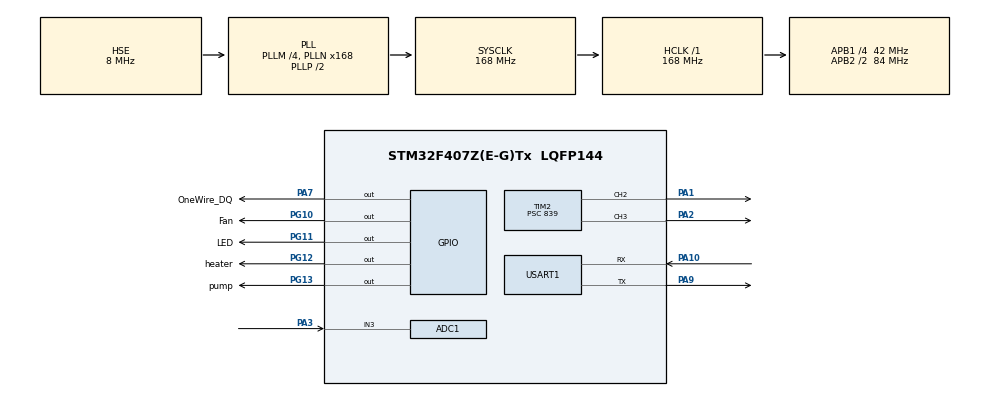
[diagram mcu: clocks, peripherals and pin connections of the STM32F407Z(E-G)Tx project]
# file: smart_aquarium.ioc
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ADC1.Channel-0\#ChannelRegularConversion=ADC_CHANNEL_3
ADC1.ContinuousConvMode=DISABLE
ADC1.NbrOfConversionFlag=1
ADC1.Rank-0\#ChannelRegularConversion=1
ADC1.SamplingTime-0\#ChannelRegularConversion=ADC_SAMPLETIME_3CYCLES
ADC1.ScanConvMode=ENABLE
ADC1.master=1
Mcu.Family=STM32F4
Mcu.Name=STM32F407Z(E-G)Tx
Mcu.Package=LQFP144
NVIC.PriorityGroup=NVIC_PRIORITYGROUP_4
NVIC.TIM3_IRQn=true\:0\:0\:false\:false\:true\:true\:true\:true
NVIC.USART1_IRQn=true\:0\:0\:false\:false\:true\:true\:true\:true
PA1.Signal=S_TIM2_CH2
PA10.Mode=Asynchronous
PA10.Signal=USART1_RX
PA2.Signal=S_TIM2_CH3
PA3.Signal=ADCx_IN3
PA7.GPIO_Label=OneWire_DQ
PA7.GPIO_ModeDefaultOutputPP=GPIO_MODE_OUTPUT_OD
PA7.GPIO_PuPd=GPIO_NOPULL
PA7.PinState=GPIO_PIN_SET
PA7.Signal=GPIO_Output
PA9.Mode=Asynchronous
PA9.Signal=USART1_TX
PG10.GPIO_Label=Fan
PG10.Signal=GPIO_Output
PG11.GPIO_Label=LED
PG11.Signal=GPIO_Output
PG12.GPIO_Label=heater
PG12.PinState=GPIO_PIN_SET
PG12.Signal=GPIO_Output
PG13.GPIO_Label=pump
PG13.PinState=GPIO_PIN_SET
PG13.Signal=GPIO_Output
PH0-OSC_IN.Mode=HSE-External-Oscillator
PH0-OSC_IN.Signal=RCC_OSC_IN
PH1-OSC_OUT.Mode=HSE-External-Oscillator
PH1-OSC_OUT.Signal=RCC_OSC_OUT
ProjectManager.HeapSize=0x200
ProjectManager.StackSize=0x400
ProjectManager.TargetToolchain=STM32CubeIDE
RCC.48MHZClocksFreq_Value=84000000
RCC.AHBFreq_Value=168000000
RCC.APB1CLKDivider=RCC_HCLK_DIV4
RCC.APB1Freq_Value=42000000
RCC.APB1TimFreq_Value=84000000
RCC.APB2CLKDivider=RCC_HCLK_DIV2
RCC.APB2Freq_Value=84000000
RCC.APB2TimFreq_Value=168000000
RCC.CortexFreq_Value=168000000
RCC.HCLKFreq_Value=168000000
RCC.HSE_VALUE=8000000
RCC.HSI_VALUE=16000000
RCC.LSE_VALUE=32768
RCC.PLLM=4
RCC.PLLN=168
RCC.PLLSourceVirtual=RCC_PLLSOURCE_HSE
RCC.SYSCLKFreq_VALUE=168000000
RCC.SYSCLKSource=RCC_SYSCLKSOURCE_PLLCLK
RCC.VCOOutputFreq_Value=336000000
SH.ADCx_IN3.0=ADC1_IN3,IN3
SH.S_TIM2_CH2.0=TIM2_CH2,PWM Generation2 CH2
SH.S_TIM2_CH3.0=TIM2_CH3,PWM Generation3 CH3
TIM2.AutoReloadPreload=TIM_AUTORELOAD_PRELOAD_ENABLE
TIM2.Channel-PWM\ Generation2\ CH2=TIM_CHANNEL_2
TIM2.Channel-PWM\ Generation3\ CH3=TIM_CHANNEL_3
TIM2.ClockDivision=TIM_CLOCKDIVISION_DIV1
TIM2.Period=1999
TIM2.Prescaler=839
TIM2.Pulse-PWM\ Generation2\ CH2=500
TIM2.Pulse-PWM\ Generation3\ CH3=1000
TIM3.Period=999
TIM3.Prescaler=83
TIM6.AutoReloadPreload=TIM_AUTORELOAD_PRELOAD_ENABLE
TIM6.Prescaler=83
USART1.VirtualMode=VM_ASYNC
VP_TIM2_VS_ClockSourceINT.Mode=Internal
VP_TIM3_VS_ClockSourceINT.Mode=Internal
VP_TIM6_VS_ClockSourceINT.Mode=Enable_Timer
board=custom

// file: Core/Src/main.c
/* USER CODE BEGIN Header */
/**
  ******************************************************************************
  * @file           : main.c
  * @brief          : Main program body
  ******************************************************************************
  * @attention
  *
  * Copyright (c) 2026 STMicroelectronics.
  * All rights reserved.
  *
  * This software is licensed under terms that can be found in the LICENSE file
  * in the root directory of this software component.
  * If no LICENSE file comes with this software, it is provided AS-IS.
  *
  ******************************************************************************
  */
/* USER CODE END Header */
#include "main.h"

/* USER CODE BEGIN Includes */
#include <stdio.h>
#include <String.h>
#include "Delay_us.h"
#include "OneWire.h"
#include "DS18B20.h"
#include "UART_Connect.h"
#include "Devices_Control.h"
/* USER CODE END Includes */

/* USER CODE BEGIN PM */
void Get_ADC1_Data(void);
void decide_UART_1(void);
/* USER CODE END PM */

ADC_HandleTypeDef hadc1;

TIM_HandleTypeDef htim2;
TIM_HandleTypeDef htim3;
TIM_HandleTypeDef htim6;

UART_HandleTypeDef huart1;

/* USER CODE BEGIN PV */

uint16_t data_TIM2_CH2_PWM_OC=0;
uint16_t data_TIM2_CH3_PWM_OC=0;
volatile uint16_t data_TIM3_IT=0;
volatile uint16_t data_TIM3_Second_IT=0;
volatile uint8_t Temperature_Get_Data1_Flag=1;
volatile uint8_t ADC1_Get_Data1_Flag=1;

uint32_t ADC1_data_1 = 0;
float Temperature_data_1 = 12.3;

char* Pump_status="Pump_OFF";
char* Heater_status="Heater_OFF";
char* Light_status="Light_OFF";
char* Feed_status="Feed_OFF";

volatile uint8_t Feed_Flag=0;
volatile uint8_t UART_Send_Light_Flag=0;

/* USER CODE END PV */

void SystemClock_Config(void);
static void MX_GPIO_Init(void);
static void MX_TIM2_Init(void);
static void MX_TIM3_Init(void);
static void MX_ADC1_Init(void);
static void MX_TIM6_Init(void);
static void MX_USART1_UART_Init(void);

int main(void)
{

  /* MCU Configuration--------------------------------------------------------*/

  /* Reset of all peripherals, Initializes the Flash interface and the Systick. */
  HAL_Init();

  /* Configure the system clock */
  SystemClock_Config();

  /* Initialize all configured peripherals */
  MX_GPIO_Init();
  MX_TIM2_Init();
  MX_TIM3_Init();
  MX_ADC1_Init();
  MX_TIM6_Init();
  MX_USART1_UART_Init();
  /* USER CODE BEGIN 2 */
  HAL_TIM_Base_Start_IT(&htim3);

  HAL_TIM_Base_Start(&htim2);
  HAL_TIM_PWM_Start(&htim2,TIM_CHANNEL_2);
  HAL_TIM_PWM_Start(&htim2,TIM_CHANNEL_3);
  HAL_TIM_Base_Start(&htim6);

  HAL_ADC_Start(&hadc1);

  DS18B20_ConvertT();
  Devices_Init();
  UART_StartReceive();

  /* USER CODE END 2 */

  /* Infinite loop */
  /* USER CODE BEGIN WHILE */

  while (1)
  {
	  //PWM_SetDuty(50);
	 // HAL_Delay(1000);
	  //PWM_SetDuty(250);
	  //HAL_Delay(1000);

    /* USER CODE END WHILE */

    /* USER CODE BEGIN 3 */

	 if(ADC1_Get_Data1_Flag==1)
	 {
		 ADC1_Get_Data1_Flag=0;
		 Get_ADC1_Data();
	 }
	 if(Temperature_Get_Data1_Flag==1)
	 {
		 Temperature_Get_Data1_Flag=0;
		 Temperature_data_1=DS18B20_Read_T();
	 }

	 //接收指令，根据指令行动
	 if(UART_RX_Flag == 1)
	 {
		 decide_UART_1();
	 }

	 if(Feed_Flag==2)
	 {
		 Feed_Flag=0;
		 Feed_OFF();
	 }
	 if(UART_Send_Light_Flag==1)
	 {
		 UART_Send_Light_Flag=0;
		 UART_Send_Light_data(ADC1_data_1);
	 }

  }
  /* USER CODE END 3 */
}

void SystemClock_Config(void)
{
  RCC_OscInitTypeDef RCC_OscInitStruct = {0};
  RCC_ClkInitTypeDef RCC_ClkInitStruct = {0};

  /** Configure the main internal regulator output voltage
  */
  __HAL_RCC_PWR_CLK_ENABLE();
  __HAL_PWR_VOLTAGESCALING_CONFIG(PWR_REGULATOR_VOLTAGE_SCALE1);

  /** Initializes the RCC Oscillators according to the specified parameters
  * in the RCC_OscInitTypeDef structure.
  */
  RCC_OscInitStruct.OscillatorType = RCC_OSCILLATORTYPE_HSE;
  RCC_OscInitStruct.HSEState = RCC_HSE_ON;
  RCC_OscInitStruct.PLL.PLLState = RCC_PLL_ON;
  RCC_OscInitStruct.PLL.PLLSource = RCC_PLLSOURCE_HSE;
  RCC_OscInitStruct.PLL.PLLM = 4;
  RCC_OscInitStruct.PLL.PLLN = 168;
  RCC_OscInitStruct.PLL.PLLP = RCC_PLLP_DIV2;
  RCC_OscInitStruct.PLL.PLLQ = 4;
  if (HAL_RCC_OscConfig(&RCC_OscInitStruct) != HAL_OK)
  {
    Error_Handler();
  }

  /** Initializes the CPU, AHB and APB buses clocks
  */
  RCC_ClkInitStruct.ClockType = RCC_CLOCKTYPE_HCLK|RCC_CLOCKTYPE_SYSCLK
                              |RCC_CLOCKTYPE_PCLK1|RCC_CLOCKTYPE_PCLK2;
  RCC_ClkInitStruct.SYSCLKSource = RCC_SYSCLKSOURCE_PLLCLK;
  RCC_ClkInitStruct.AHBCLKDivider = RCC_SYSCLK_DIV1;
  RCC_ClkInitStruct.APB1CLKDivider = RCC_HCLK_DIV4;
  RCC_ClkInitStruct.APB2CLKDivider = RCC_HCLK_DIV2;

  if (HAL_RCC_ClockConfig(&RCC_ClkInitStruct, FLASH_LATENCY_5) != HAL_OK)
  {
    Error_Handler();
  }
}

static void MX_ADC1_Init(void)
{

  ADC_ChannelConfTypeDef sConfig = {0};

  /** Configure the global features of the ADC (Clock, Resolution, Data Alignment and number of conversion)
  */
  hadc1.Instance = ADC1;
  hadc1.Init.ClockPrescaler = ADC_CLOCK_SYNC_PCLK_DIV4;
  hadc1.Init.Resolution = ADC_RESOLUTION_12B;
  hadc1.Init.ScanConvMode = ENABLE;
  hadc1.Init.ContinuousConvMode = DISABLE;
  hadc1.Init.DiscontinuousConvMode = DISABLE;
  hadc1.Init.ExternalTrigConvEdge = ADC_EXTERNALTRIGCONVEDGE_NONE;
  hadc1.Init.ExternalTrigConv = ADC_SOFTWARE_START;
  hadc1.Init.DataAlign = ADC_DATAALIGN_RIGHT;
  hadc1.Init.NbrOfConversion = 1;
  hadc1.Init.DMAContinuousRequests = DISABLE;
  hadc1.Init.EOCSelection = ADC_EOC_SINGLE_CONV;
  if (HAL_ADC_Init(&hadc1) != HAL_OK)
  {
    Error_Handler();
  }

  /** Configure for the selected ADC regular channel its corresponding rank in the sequencer and its sample time.
  */
  sConfig.Channel = ADC_CHANNEL_3;
  sConfig.Rank = 1;
  sConfig.SamplingTime = ADC_SAMPLETIME_3CYCLES;
  if (HAL_ADC_ConfigChannel(&hadc1, &sConfig) != HAL_OK)
  {
    Error_Handler();
  }

}

static void MX_TIM2_Init(void)
{

  TIM_ClockConfigTypeDef sClockSourceConfig = {0};
  TIM_MasterConfigTypeDef sMasterConfig = {0};
  TIM_OC_InitTypeDef sConfigOC = {0};

  htim2.Instance = TIM2;
  htim2.Init.Prescaler = 839;
  htim2.Init.CounterMode = TIM_COUNTERMODE_UP;
  htim2.Init.Period = 1999;
  htim2.Init.ClockDivision = TIM_CLOCKDIVISION_DIV1;
  htim2.Init.AutoReloadPreload = TIM_AUTORELOAD_PRELOAD_ENABLE;
  if (HAL_TIM_Base_Init(&htim2) != HAL_OK)
  {
    Error_Handler();
  }
  sClockSourceConfig.ClockSource = TIM_CLOCKSOURCE_INTERNAL;
  if (HAL_TIM_ConfigClockSource(&htim2, &sClockSourceConfig) != HAL_OK)
  {
    Error_Handler();
  }
  if (HAL_TIM_PWM_Init(&htim2) != HAL_OK)
  {
    Error_Handler();
  }
  sMasterConfig.MasterOutputTrigger = TIM_TRGO_RESET;
  sMasterConfig.MasterSlaveMode = TIM_MASTERSLAVEMODE_DISABLE;
  if (HAL_TIMEx_MasterConfigSynchronization(&htim2, &sMasterConfig) != HAL_OK)
  {
    Error_Handler();
  }
  sConfigOC.OCMode = TIM_OCMODE_PWM1;
  sConfigOC.Pulse = 500;
  sConfigOC.OCPolarity = TIM_OCPOLARITY_HIGH;
  sConfigOC.OCFastMode = TIM_OCFAST_DISABLE;
  if (HAL_TIM_PWM_ConfigChannel(&htim2, &sConfigOC, TIM_CHANNEL_2) != HAL_OK)
  {
    Error_Handler();
  }
  sConfigOC.Pulse = 1000;
  if (HAL_TIM_PWM_ConfigChannel(&htim2, &sConfigOC, TIM_CHANNEL_3) != HAL_OK)
  {
    Error_Handler();
  }
  HAL_TIM_MspPostInit(&htim2);

}

static void MX_TIM3_Init(void)
{

  TIM_ClockConfigTypeDef sClockSourceConfig = {0};
  TIM_MasterConfigTypeDef sMasterConfig = {0};

  htim3.Instance = TIM3;
  htim3.Init.Prescaler = 83;
  htim3.Init.CounterMode = TIM_COUNTERMODE_UP;
  htim3.Init.Period = 999;
  htim3.Init.ClockDivision = TIM_CLOCKDIVISION_DIV1;
  htim3.Init.AutoReloadPreload = TIM_AUTORELOAD_PRELOAD_DISABLE;
  if (HAL_TIM_Base_Init(&htim3) != HAL_OK)
  {
    Error_Handler();
  }
  sClockSourceConfig.ClockSource = TIM_CLOCKSOURCE_INTERNAL;
  if (HAL_TIM_ConfigClockSource(&htim3, &sClockSourceConfig) != HAL_OK)
  {
    Error_Handler();
  }
  sMasterConfig.MasterOutputTrigger = TIM_TRGO_RESET;
  sMasterConfig.MasterSlaveMode = TIM_MASTERSLAVEMODE_DISABLE;
  if (HAL_TIMEx_MasterConfigSynchronization(&htim3, &sMasterConfig) != HAL_OK)
  {
    Error_Handler();
  }

}

static void MX_TIM6_Init(void)
{

  TIM_MasterConfigTypeDef sMasterConfig = {0};

  htim6.Instance = TIM6;
  htim6.Init.Prescaler = 83;
  htim6.Init.CounterMode = TIM_COUNTERMODE_UP;
  htim6.Init.Period = 65535;
  htim6.Init.AutoReloadPreload = TIM_AUTORELOAD_PRELOAD_ENABLE;
  if (HAL_TIM_Base_Init(&htim6) != HAL_OK)
  {
    Error_Handler();
  }
  sMasterConfig.MasterOutputTrigger = TIM_TRGO_RESET;
  sMasterConfig.MasterSlaveMode = TIM_MASTERSLAVEMODE_DISABLE;
  if (HAL_TIMEx_MasterConfigSynchronization(&htim6, &sMasterConfig) != HAL_OK)
  {
    Error_Handler();
  }

}

static void MX_USART1_UART_Init(void)
{

  huart1.Instance = USART1;
  huart1.Init.BaudRate = 115200;
  huart1.Init.WordLength = UART_WORDLENGTH_8B;
  huart1.Init.StopBits = UART_STOPBITS_1;
  huart1.Init.Parity = UART_PARITY_NONE;
  huart1.Init.Mode = UART_MODE_TX_RX;
  huart1.Init.HwFlowCtl = UART_HWCONTROL_NONE;
  huart1.Init.OverSampling = UART_OVERSAMPLING_16;
  if (HAL_UART_Init(&huart1) != HAL_OK)
  {
    Error_Handler();
  }

}

static void MX_GPIO_Init(void)
{
  GPIO_InitTypeDef GPIO_InitStruct = {0};

  /* GPIO Ports Clock Enable */
  __HAL_RCC_GPIOH_CLK_ENABLE();
  __HAL_RCC_GPIOA_CLK_ENABLE();
  __HAL_RCC_GPIOG_CLK_ENABLE();

  /*Configure GPIO pin Output Level */
  HAL_GPIO_WritePin(OneWire_DQ_GPIO_Port, OneWire_DQ_Pin, GPIO_PIN_SET);

  /*Configure GPIO pin Output Level */
  HAL_GPIO_WritePin(GPIOG, Fan_Pin|LED_Pin, GPIO_PIN_RESET);

  /*Configure GPIO pin Output Level */
  HAL_GPIO_WritePin(GPIOG, heater_Pin|pump_Pin, GPIO_PIN_SET);

  /*Configure GPIO pin : OneWire_DQ_Pin */
  GPIO_InitStruct.Pin = OneWire_DQ_Pin;
  GPIO_InitStruct.Mode = GPIO_MODE_OUTPUT_OD;
  GPIO_InitStruct.Pull = GPIO_NOPULL;
  GPIO_InitStruct.Speed = GPIO_SPEED_FREQ_LOW;
  HAL_GPIO_Init(OneWire_DQ_GPIO_Port, &GPIO_InitStruct);

  /*Configure GPIO pins : Fan_Pin LED_Pin heater_Pin pump_Pin */
  GPIO_InitStruct.Pin = Fan_Pin|LED_Pin|heater_Pin|pump_Pin;
  GPIO_InitStruct.Mode = GPIO_MODE_OUTPUT_PP;
  GPIO_InitStruct.Pull = GPIO_NOPULL;
  GPIO_InitStruct.Speed = GPIO_SPEED_FREQ_LOW;
  HAL_GPIO_Init(GPIOG, &GPIO_InitStruct);

}

/* USER CODE BEGIN 4 */

//TIM3为程序主计时器，依据该时钟发送数据信息，采集数据
void HAL_TIM_PeriodElapsedCallback(TIM_HandleTypeDef *htim)
{
	if(htim->Instance == TIM3)
	 {
		data_TIM3_IT++;

		//毫秒计时器
		if(data_TIM3_IT==250)
		{
			//HAL_GPIO_TogglePin(GPIOG, LED_Pin);
			//UART_SendString("Pump:OFF#");
		}
		if(data_TIM3_IT==500)
		{
			Temperature_Get_Data1_Flag=1;
		}
		if(data_TIM3_IT==1000)
		{
			ADC1_Get_Data1_Flag=1;
			data_TIM3_Second_IT++;
			Feed_Flag++;
			data_TIM3_IT=0;
		}

		//秒计时器
		if(data_TIM3_Second_IT==5&&data_TIM3_IT==0)
		{
			UART_Send_Light_data(ADC1_data_1);
		}
		if(data_TIM3_Second_IT==10&&data_TIM3_IT==0)
		{
			UART_Send_Tep_data(Temperature_data_1);
			data_TIM3_Second_IT=0;
		}
	 }

}

void Get_ADC1_Data(void)
{
	HAL_ADC_Start(&hadc1);

	//ADC1_data_1 = HAL_ADC_GetValue(&hadc1);
	if (HAL_ADC_PollForConversion(&hadc1, 1000) == HAL_OK)
	{
		ADC1_data_1 = HAL_ADC_GetValue(&hadc1);
	}
	HAL_ADC_Stop(&hadc1);

}

void decide_UART_1(void)
{
	 UART_RX_Flag = 0;

	 if(strcmp((char *)UART_Data, "Light:ON") == 0)
	 {
		 UART_SendString("Light_ON#");
		 Light_ON();
	 }
	 if(strcmp((char *)UART_Data, "Light:OFF") == 0)
	 {
		 UART_SendString("Light_OFF#");
		 Light_OFF();
	 }
	 if(strcmp((char *)UART_Data, "Pump:ON") == 0)
	 {
		 UART_SendString("Pump_ON#");
		 Pump_ON();
	 }
	 if(strcmp((char *)UART_Data, "Pump:OFF") == 0)
	 {
		 UART_SendString("Pump_OFF#");
		 Pump_OFF();
	 }
	 if(strcmp((char *)UART_Data, "Heater:ON") == 0)
	 {
		 UART_SendString("Heater_ON#");
		 Heater_ON();
	 }
	 if(strcmp((char *)UART_Data, "Heater:OFF") == 0)
	 {
		 UART_SendString("Heater_OFF#");
		 Heater_OFF();
	 }
	 if(strcmp((char *)UART_Data, "Fan:ON") == 0)
	 {
		 UART_SendString("Fan_ON#");
		 Fan_ON();
	 }
	 if(strcmp((char *)UART_Data, "Fan:OFF") == 0)
	 {
		 UART_SendString("Fan_OFF#");
		Fan_OFF();
	 }
	 if(strcmp((char *)UART_Data, "Feed:ON") == 0)
	 {
		 UART_SendString("Feed_ON#");
		 Feed_ON();
	 }
	 if(strcmp((char *)UART_Data, "Get_Light") == 0)
	 {
		 char ADC_Data_String[20];
		 sprintf(ADC_Data_String, "LIGHT:%lu", ADC1_data_1);
		 UART_SendString(ADC_Data_String);

	 }
	 if(strcmp((char *)UART_Data, "Get_Temperature") == 0)
	 {
		 char Temperature_data_1_String[20];
		 sprintf(Temperature_data_1_String, "TEMP:%lu", (long unsigned int)Temperature_data_1);
		 UART_SendString(Temperature_data_1_String);
	 }
	 if(strcmp((char *)UART_Data, "Pump:status") == 0)
	 {
		 UART_SendStatus(Pump_status);
	 }
	 if(strcmp((char *)UART_Data, "Heater:status") == 0)
	 {
		 UART_SendStatus(Heater_status);
	 }
	 if(strcmp((char *)UART_Data, "Light:status") == 0)
	 {
		 UART_SendStatus(Light_status);
	 }
	 if(strcmp((char *)UART_Data, "Feed:status") == 0)
	 {
		 UART_SendStatus(Feed_status);
	 }
	 else
	 {
		 //UART_SendString("FailedToReceive#");
		 //char UART_data_1_String[64];
		 //sprintf(UART_data_1_String, "Rx:%lu", (long unsigned int)UART_Data);
		 //UART_SendString(UART_data_1_String);
	 }
	 for(uint8_t i=0; i < sizeof(UART_Data)-1; i++)
	{
		 UART_Data[i]=0;
	}
}
/* USER CODE END 4 */

void Error_Handler(void)
{
  __disable_irq();
  while (1)
  {
  }
}
